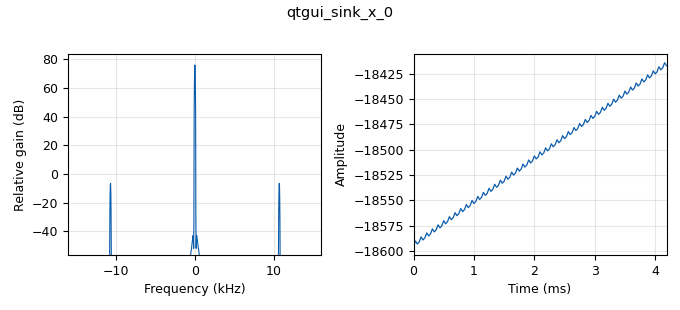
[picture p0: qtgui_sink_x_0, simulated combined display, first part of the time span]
options:
  parameters:
    generate_options: qt_gui
    id: diff
    output_language: python
    title: Not titled yet
  states: {}

blocks:
- name: samp_rate
  id: variable
  parameters:
    value: '32000'
  states: {}
- name: blocks_throttle2_0
  id: blocks_throttle2
  parameters:
    samples_per_second: samp_rate
    type: float
  states: {}
- name: blocks_vector_source_x_0
  id: blocks_vector_source_x
  parameters:
    repeat: 'True'
    type: float
    vector: (-3, 2, 5)
  states: {}
- name: epy_block_0
  id: epy_block
  parameters:
    _source_code: |
      """
      Embedded Python Blocks:

      Each time this file is saved, GRC will instantiate the first class it finds
      to get ports and parameters of your block. The arguments to __init__  will
      be the parameters. All of them are required to have default values!
      """
      ####### DIFERENCIADOR

      import numpy as np
      from gnuradio import gr


      class blk(gr.sync_block):  # other base classes are basic_block, decim_block, interp_block
          
          def __init__(self):  # only default arguments here
          
              gr.sync_block.__init__(
                  self,
                  name='e_Diff',   # will show up in GRC
                  in_sig=[np.float32],
                  out_sig=[np.float32]
       
              )
              self.acum_anterior = 0

          def work(self, input_items, output_items):
        
              x=input_items[0]
              y0=output_items[0]

              N=len(x)
              diff=np.cumsum(x)-self.acum_anterior
              self.acum_anterior=diff[N-1]
              y0[:]=diff
              return len(y0)
  states: {}
- name: qtgui_sink_x_0
  id: qtgui_sink_x
  parameters:
    bw: samp_rate
    fc: '0'
    fftsize: '1024'
    type: float
  states: {}

connections:
- [blocks_throttle2_0, '0', qtgui_sink_x_0, '0']
- [blocks_vector_source_x_0, '0', epy_block_0, '0']
- [epy_block_0, '0', blocks_throttle2_0, '0']

metadata:
  file_format: 1
  grc_version: v3.10.11.0-89-ga17f69e7
